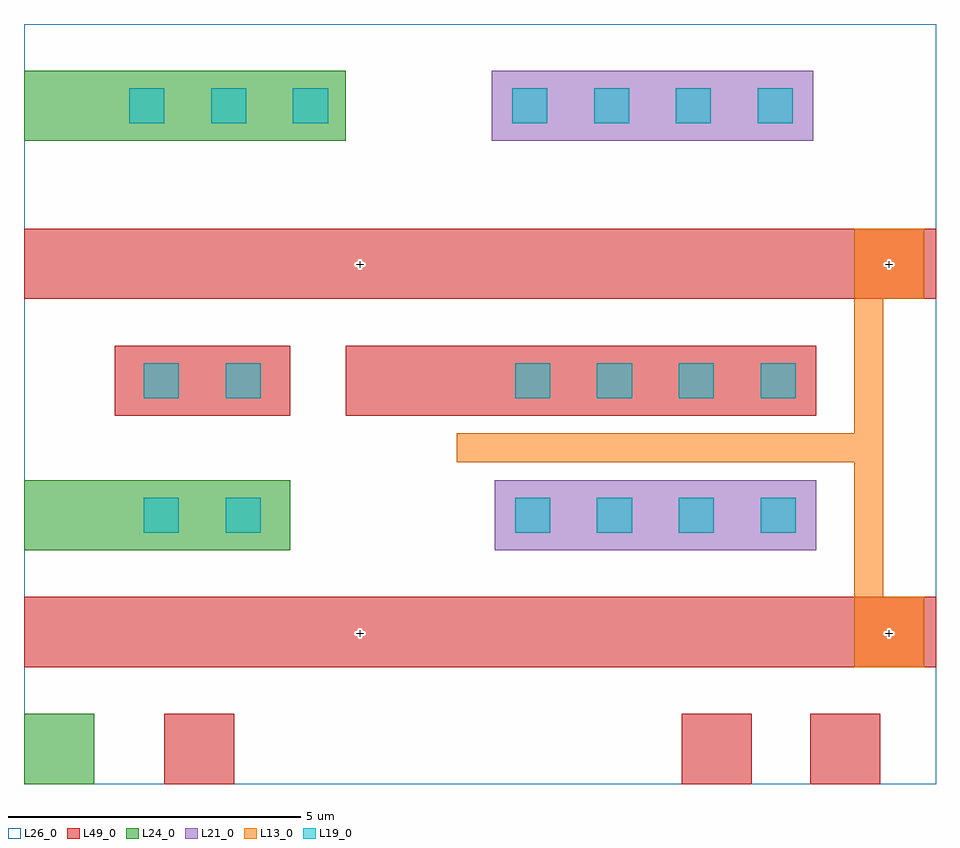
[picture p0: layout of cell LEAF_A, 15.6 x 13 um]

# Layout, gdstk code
import gdstk
lib = gdstk.Library(unit=1e-6, precision=1e-09)
def R(c, l, rs):  # rectangles x0, y0, x1, y1
    for r in rs: c.add(gdstk.rectangle(r[:2], r[2:], *l))
def A(c, l, x, y, w, h, nx, ny, dx, dy):  # array of equal rectangles
    R(c, l, [(x+i*dx, y+j*dy, x+i*dx+w, y+j*dy+h) for i in range(nx) for j in range(ny)])
def P(c, l, *ps):  # polygons
    for p in ps: c.add(gdstk.Polygon(p, *l))
L13_0 = (13, 0)
L19_0 = (19, 0)
L21_0 = (21, 0)
L24_0 = (24, 0)
L26_0 = (26, 0)
L49_0 = (49, 0)

leaf_a = lib.new_cell('LEAF_A')
P(leaf_a, L13_0, [(7.4,6),(14.2,6),(14.2,9.5),(15.4,9.5),(15.4,8.3),(14.7,8.3),(14.7,3.2),(15.4,3.2),(15.4,2),(14.2,2),(14.2,5.5),(7.4,5.5)])
A(leaf_a, L19_0, 8.4, 4.3, 0.6, 0.6, 4, 2, 1.4, 2.3)
A(leaf_a, L19_0, 1.8, 11.3, 0.6, 0.6, 3, 1, 1.4, 0)
A(leaf_a, L19_0, 8.35, 11.3, 0.6, 0.6, 4, 1, 1.4, 0)
R(leaf_a, L19_0, [(2.05,4.3,2.65,4.9), (3.45,4.3,4.05,4.9), (2.05,6.6,2.65,7.2), (3.45,6.6,4.05,7.2)])
R(leaf_a, L21_0, [(8.05,4,13.55,5.2), (8,11,13.5,12.2)])
R(leaf_a, L24_0, [(0,0,1.2,1.2), (0,4,4.55,5.2), (0,11,5.5,12.2)])
R(leaf_a, L26_0, [(0,0,15.6,13)])
R(leaf_a, L49_0, [(2.4,0,3.6,1.2), (11.25,0,12.45,1.2), (13.45,0,14.65,1.2), (0,2,15.6,3.2), (1.55,6.3,4.55,7.5), (5.5,6.3,13.55,7.5), (0,8.3,15.6,9.5)])
leaf_a.add(gdstk.Label('+', (5.75,2.6), layer=19, texttype=0))
leaf_a.add(gdstk.Label('+', (14.8,2.6), layer=19, texttype=0))
leaf_a.add(gdstk.Label('+', (14.8,8.9), layer=19, texttype=0))
leaf_a.add(gdstk.Label('+', (5.75,8.9), layer=19, texttype=0))

lib.write_gds('LEAF_A.gds')
